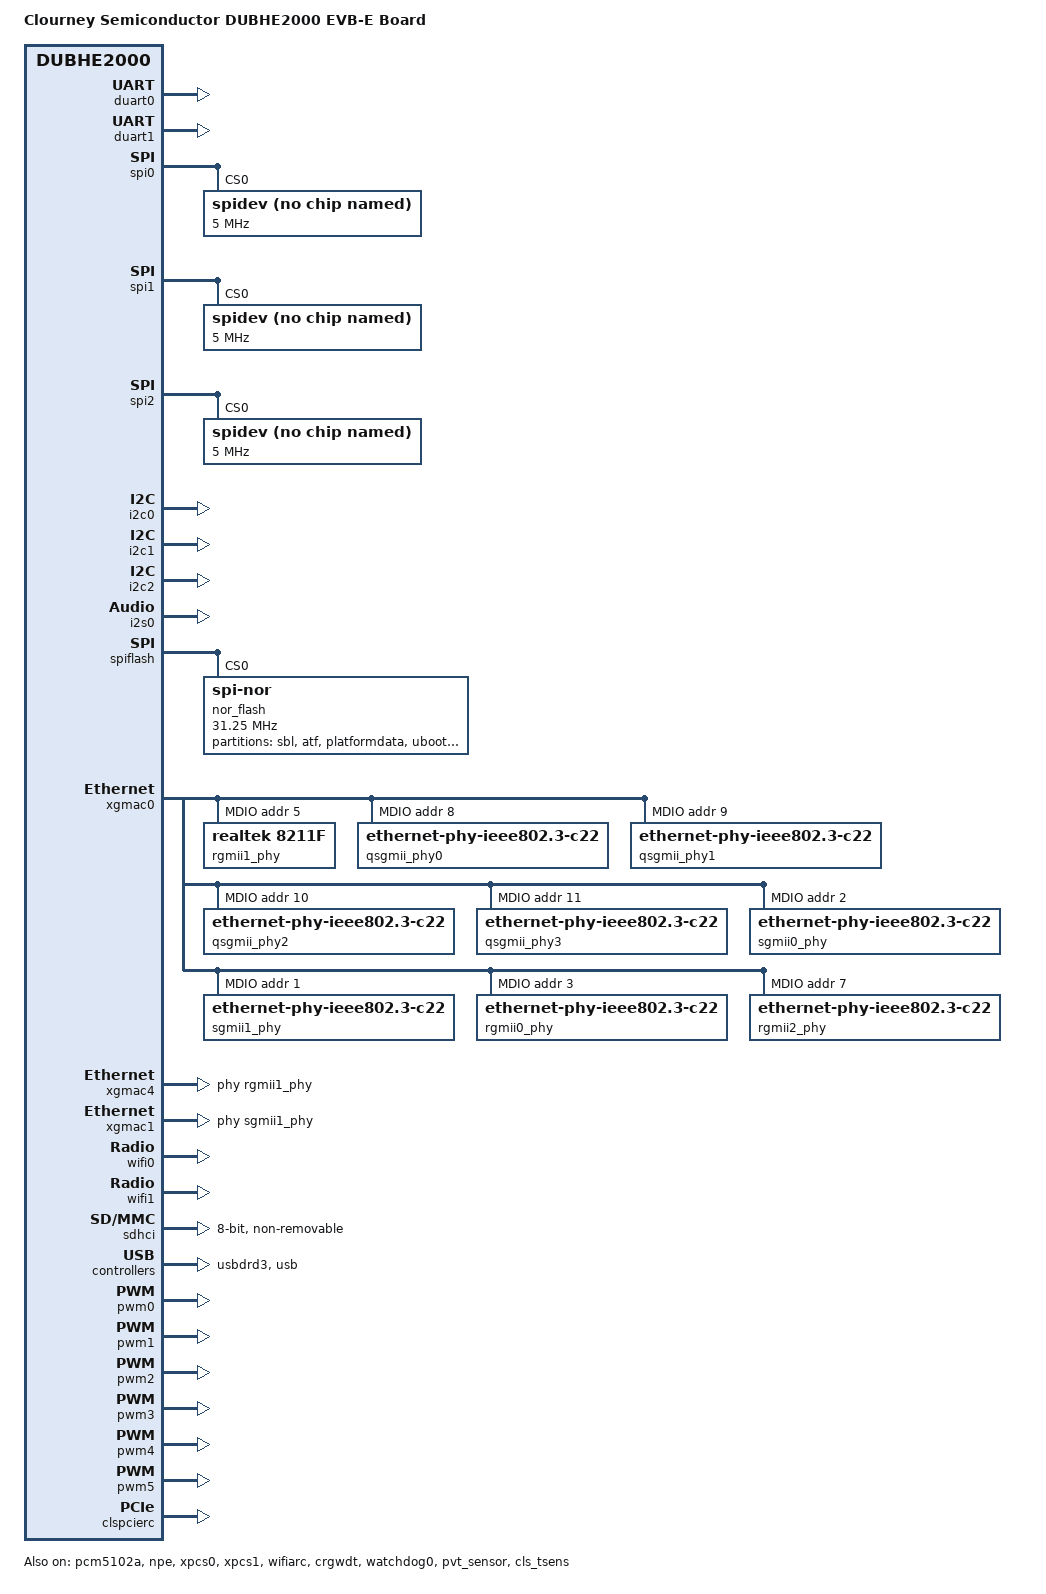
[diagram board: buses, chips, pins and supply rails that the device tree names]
// SPDX-License-Identifier: (GPL-2.0+ OR MIT)
/*
 * Device Tree Include file for Clourney dubhe2000 family SoC.
 *
 * Copyright (C) 2022-2024 Clourney Semiconductor - All Rights Reserved.
 *
 */

/dts-v1/;
#include "clourney-dubhe2000.dtsi"

/ {
	model = "Clourney Semiconductor DUBHE2000 EVB-E Board";
	compatible = "clsemi,dubhe2000-evb-e", "clsemi,dubhe2000";

	aliases {
		serial0 = &duart0;
		spidev0 = &spi0;
                spidev1 = &spi1;
		spidev2 = &spi2;
		spinand = &spiflash;
		pwm0 = &pwm0;
		pwm1 = &pwm1;
		pwm2 = &pwm2;
		pwm3 = &pwm3;
		pwm4 = &pwm4;
		pwm5 = &pwm5;

	};

	chosen {
		stdout-path = "serial0:115200n8";
	};

	macros {
	    #define MMC_CARD_USED   1
	 };
};

&duart0 {
	status = "ok";
};

&duart1 {
        status = "ok";
};

&spi0 {
	status = "ok";
	spidev@0 {
		spi-max-frequency = <5000000>;
		reg = <0>;
		compatible = "linux,spidev";
	};
};

&spi1 {
	status = "ok";
	spidev@0 {
		spi-max-frequency = <5000000>;
		reg = <0>;
		compatible = "linux,spidev";
	};
};

&spi2 {
	status = "ok";
	spidev@0 {
		spi-max-frequency = <5000000>;
		reg = <0>;
		compatible = "linux,spidev";
	};
};

&i2c0 {
        label = "I2C0";
        status = "okay";
};

&i2c1 {
	label = "I2C1";
	status = "okay";
};

&i2c2 {
        label = "I2C2";
        status = "okay";
};

&pcm5102a {
	status = "okay";
};

&i2s0 {
	#sound-dai-cells = <0>;
	top_sysclk_frequence = <49152000>;
	status = "okay";
};

&sound0 {
	status = "okay";
	simple-audio-card,format = "i2s";
	simple-audio-card,name = "pcm5102a-audio";
	simple-audio-card,cpu {
		sound-dai = <&i2s0>;
		frame-master;
		bitclock-master;
	};
	simple-audio-card,codec {
		sound-dai = <&pcm5102a>;
	};
};

&spiflash {
	rx-sample-delay-ns = <8>;
	status = "ok";

	nor_flash: flash@0 {
		compatible = "jedec,spi-nor";
		/* Avoid interference with 5G and 2.4G, not setting clk to  41.67MHz  */
		spi-max-frequency = <31250000>;
		reg = <0>;
		#address-cells = <1>;
		#size-cells = <1>;

		/*256KB*/
		partition@0 {
			label = "sbl";
			reg = <0x0 0x40000>;
		};

		/*256KB*/
		partition@1 {
			label = "atf";
			reg = <0x40000 0x40000>;
		};

		/*512KB*/
		partition@2 {
			label = "platformdata";
			reg = <0x80000 0x80000>;
		};

		/*1.5MB*/
		partition@3 {
			label = "uboot";
			reg = <0x100000 0x180000>;
		};

		/*512KB*/
		partition@4 {
			label = "caldata";
			reg = <0x280000 0x80000>;
		};

		/*512KB*/
		partition@5 {
			label = "caldata2";
			reg = <0x300000 0x80000>;
		};

		/*128KB*/
                partition@6 {
                        label = "ubootenv";
                        reg = <0x380000 0x20000>;
                };

                /*128KB*/
                partition@7 {
                        label = "ubootenv2";
                        reg = <0x3a0000 0x20000>;
                };

		/*128KB*/
                partition@8 {
                        label = "boarddata";
                        reg = <0x3c0000 0x20000>;
                };

                /*128KB*/
                partition@9 {
                        label = "boarddata2";
                        reg = <0x3e0000 0x20000>;
                };

	};
};

&npe  {
	status = "ok";
	switch-pause = <4>;
};

&xpcs0 {
	phy-mode = "usxgmii";
	usxg_mode = <0>;
	status = "okay";
};

&xpcs1 {
	phy-mode = "sgmii";
	status = "okay";
};

&xgmac0 {
	mode = "non-rgmii";
	max-speed = <10000>;
	mac-address = [a0 c0 ab 39 cc f0];
	sfp;
	mdio-flags = <1>;
	clk_csr = <1>;
	status = "okay";
	mdio {
	compatible = "clourney,mdio";
	#address-cells = <1>;
	#size-cells = <0>;
	device_type = "mdio";
	status = "okay";
	rgmii1_phy: ethernet-phy@5 {
		 compatible = "realtek,8211f","ethernet-phy-ieee802.3-c22";
		 reg = <0x5>;
	};
	qsgmii_phy0: ethernet-phy@8 {
		 compatible = "ethernet-phy-ieee802.3-c22";
		 port-id = <0>;
		 reg = <0x8>;
	};
	qsgmii_phy1: ethernet-phy@9 {
		compatible = "ethernet-phy-ieee802.3-c22";
		port-id = <1>;
		reg = <0x9>;
	};
	qsgmii_phy2: ethernet-phy@a {
		compatible = "ethernet-phy-ieee802.3-c22";
		port-id = <2>;
		reg = <0xa>;
	};
	qsgmii_phy3: ethernet-phy@b {
		compatible = "ethernet-phy-ieee802.3-c22";
		port-id = <3>;
		reg = <0xb>;
	};
	sgmii0_phy: ethernet-phy@01 {
		compatible = "ethernet-phy-ieee802.3-c22";
		reg = <0x2>;
	};
	sgmii1_phy: ethernet-phy@1 {
		compatible = "ethernet-phy-ieee802.3-c22";
		reg = <0x1>;
	};
	rgmii0_phy: ethernet-phy@3 {
		compatible = "ethernet-phy-ieee802.3-c22";
		reg = <0x3>;
	};
	rgmii2_phy: ethernet-phy@7 {
		compatible = "ethernet-phy-ieee802.3-c22";
		reg = <0x7>;
	};
  };
};

&xgmac4 {
	mode = "rgmii";
	max-speed = <1000>;
	mac-address = [a0 c0 ab 39 cc f2];
	mdio-flags = <1>;
	phy-handle = <&rgmii1_phy>;
	rgmii-rx-delay = <1>;
	mdio-flags = <1>;
	status = "okay";
};


&xgmac1 {
	mode = "non-rgmii";
	mac-address = [a0 c0 ab 39 cc f3];
	max-speed = <25000>;
	phy-handle = <&sgmii1_phy>;
	mdio-flags = <1>;
	status = "okay";
};

&xgmac2 {
	status = "disabled";
};

&xgmac3 {
	status = "disabled";
};

&wifi0 { status = "ok"; };

&wifi1 { status = "ok"; };

&wifiarm { status = "disabled"; };

&wifiarc { status = "ok"; };

&sdhci { status = "ok"; };

&crgwdt {
        timeout-sec = <WDT_TIMEOUT_S>;
        status = "ok";
};

&watchdog0 {
	timeout-sec = <WDT_TIMEOUT_S>;
	status = "ok";
};

&gpio0 { status = "ok"; };

&gpio1 { status = "ok"; };

&gpio_keys { status = "ok"; };

&gpio_leds { status = "ok"; };

&usbdrd3 { status = "ok";};

&usb {status = "ok"; };

&sdhci {
	disable-wp;
	keep-power-in-suspend;
	sdhci-caps-mask = <0xff0000 0x0>;
	sdhci-caps = <0x0 0x0>;
	max-frequency = <50000000>;
	clock-frequency = <50000000>;

	#if MMC_CARD_USED
	bus-width = <8>;
	non-removable;
	no-sdio;
	no-sd;
	cap-mmc-highspeed;
	keep-power-in-suspend;
	/* HS400 mode */
	#elif SD_CARD_USED
	bus-width = <4>;
	no-sdio;
	no-mmc;
	supports-sd;
	card-detect-delay = <2000>;
	cap-sd-highspeed;
	/* controller clock frequence low than 50M is recommended */
	sd-uhs-sdr12;
	sd-uhs-sdr25;
	sd-uhs-sdr50;
	sd-uhs-sdr104;
	no-1-8-v;
	#elif SDIO_CARD_USED
	no-sd;
	no-mmc;
	#endif
	status = "okay";
};

&pwm0 { status = "ok"; };

&pwm1 { status = "ok"; };

&pwm2 { status = "ok"; };

&pwm3 { status = "ok"; };

&pwm4 { status = "ok"; };

&pwm5 { status = "ok"; };

&pvt_sensor {
	status = "ok";
        // T2
        temp_rise_alarm2_L = "102000";
        temp_rise_alarm2_H = "110000";
        temp_fall_alarm2_H = "110000";
        temp_fall_alarm2_L = "102000";
        // T0
        temp_rise_alarm0_L = "110000";
        temp_rise_alarm0_H = "118000";
        temp_fall_alarm0_H = "118000";
        temp_fall_alarm0_L = "110000";
        // T1
        temp_rise_alarm1_L = "118000";
        temp_rise_alarm1_H = "126000";
        temp_fall_alarm1_H = "126000";
        temp_fall_alarm1_L = "118000";
};

&cls_tsens {
	status = "ok";
        // T2
        temp_rise_alarm2_L = "102000";
        temp_rise_alarm2_H = "110000";
        temp_fall_alarm2_H = "110000";
        temp_fall_alarm2_L = "102000";
        // T0
        temp_rise_alarm0_L = "110000";
        temp_rise_alarm0_H = "118000";
        temp_fall_alarm0_H = "118000";
        temp_fall_alarm0_L = "110000";
        // T1
        temp_rise_alarm1_L = "118000";
        temp_rise_alarm1_H = "126000";
        temp_fall_alarm1_H = "126000";
        temp_fall_alarm1_L = "118000";
};

&clspcierc {
	perst-gpio = <&gpio0 10 1>;
	status = "ok";
};
